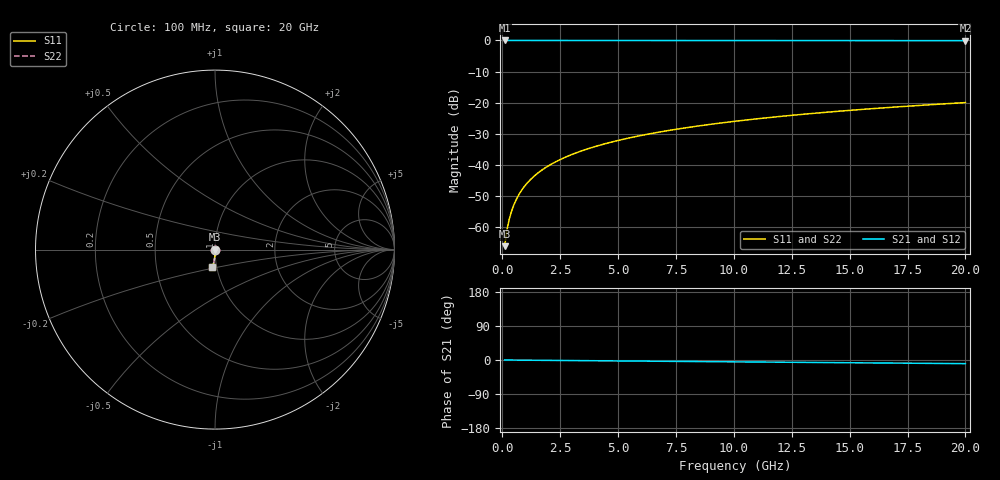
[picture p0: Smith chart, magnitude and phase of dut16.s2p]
! Touchstone file exported from HFSS 2026.1.0
!  File:  C:/ffzhzh/LocalFiles/Ansys_Project_Files/temp_val_TSV_16_1782975031_45308.aedt
!  Generated:  02:51:54 PM Jul  2, 2026
!  Design:  TSV
!  Project:  temp_val_TSV_16_1782975031_45308
! Variables:
!  h_bsmrdl = 2um
!  h_ox = 20um
!  h_rdl = 5um
!  h_sub = 84.46um
!  h_tmrdl = 5um
!  h_tsv = 84.46um
!  h_via = 3um
!  l_bsmrdl = 300um
!  l_sub = 413.94um
!  l_tmrdl = 200um
!  m_sub = 200um
!  pitch = 17.11um
!  r_tsv = 6.97um
!  s_tmrdl = 10um
!  w_bsmrdl = 18um
!  w_sub = 500um
!  w_tmrdl = 12um
!  x_tsv_center1 = 206um
!  x_tsv_center2 = 524um
!  x_tsv_center3 = 736um
!  x_tsv_center4 = 1054um
!  x_tsv_center5 = 1266um
!  x_tsv_center6 = 1584um
# GHz S MA R 50.000000
! Terminal data exported
! Port[1] = TSV1_1_T1
! Port[2] = TSV1_1_T2
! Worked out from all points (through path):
!   200 points, 100 MHz to 20 GHz, reference 50 ohm
!   highest |S21| = 0.00 dB at 100 MHz (marker M1); lowest = -0.1 dB at 20 GHz (marker M2)
!   group delay of S21, straight-line fit = 1.33 ps
!   lowest |S11| = -66.2 dB at 100 MHz (marker M3), VSWR 1.00, Z = 50 - j0.0416 ohm
!   |S11| at or under -10 dB: start of sweep to end of sweep
!   |S22| runs from -66.2 to -20.0 dB; largest |S21 - S12| = 4.8e-15
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0.1  0.0004897 -58.0  0.9997 -0.1  0.9997 -0.1  0.0004897 -58.0
! Gamma 0 0 0 0
! Port Impedance 50 0 50 0
0.2  0.0008909 -70.9  0.9997 -0.1  0.9997 -0.1  0.0008909 -70.9
0.3  0.001328 -75.4  0.9997 -0.2  0.9997 -0.2  0.001328 -75.4
0.4  0.001787 -77.7  0.9996 -0.2  0.9996 -0.2  0.001787 -77.7
0.5  0.00226 -79.2  0.9996 -0.3  0.9996 -0.3  0.00226 -79.2
0.7  0.003229 -81.3  0.9995 -0.4  0.9995 -0.4  0.003229 -81.3
0.8  0.00372 -82.0  0.9994 -0.4  0.9994 -0.4  0.00372 -82.0
1  0.004706 -83.3  0.9994 -0.5  0.9994 -0.5  0.004706 -83.3
1.2  0.005694 -84.2  0.9993 -0.6  0.9993 -0.6  0.005694 -84.2
1.4  0.006682 -85.0  0.9993 -0.7  0.9993 -0.7  0.006682 -85.0
1.7  0.008163 -85.8  0.9992 -0.8  0.9992 -0.8  0.008163 -85.8
2  0.009645 -86.5  0.9992 -1.0  0.9992 -1.0  0.009645 -86.5
2.7  0.01311 -87.6  0.999 -1.3  0.999 -1.3  0.01311 -87.6
3.5  0.01709 -88.4  0.9989 -1.7  0.9989 -1.7  0.01709 -88.4
4.2  0.02058 -89.0  0.9987 -2.1  0.9987 -2.1  0.02058 -89.0
5  0.0246 -89.6  0.9985 -2.4  0.9985 -2.4  0.0246 -89.6
6.8  0.03366 -90.9  0.998 -3.3  0.998 -3.3  0.03366 -90.9
8.3  0.04124 -91.8  0.9976 -4.0  0.9976 -4.0  0.04124 -91.8
10.1  0.05032 -92.9  0.997 -4.9  0.997 -4.9  0.05032 -92.9
13.4  0.06695 -94.7  0.9957 -6.5  0.9957 -6.5  0.06695 -94.7
16.7  0.08352 -96.5  0.9942 -8.1  0.9942 -8.1  0.08352 -96.5
20  0.1 -98.2  0.9924 -9.6  0.9924 -9.6  0.1 -98.2
